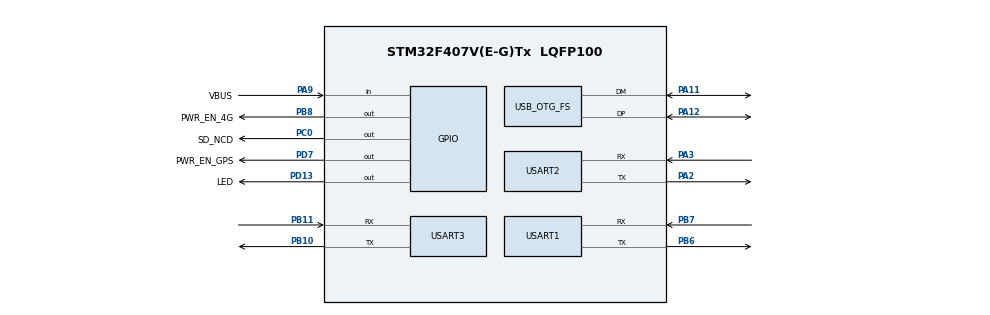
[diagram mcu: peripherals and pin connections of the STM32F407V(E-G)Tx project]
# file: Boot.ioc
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FATFS._FS_TINY=1
FATFS._MULTI_PARTITION=0
FATFS._USE_LABEL=1
Mcu.Family=STM32F4
Mcu.Name=STM32F407V(E-G)Tx
Mcu.Package=LQFP100
NVIC.OTG_FS_IRQn=true\:0\:0\:false\:false\:true\:false\:true
NVIC.PriorityGroup=NVIC_PRIORITYGROUP_4
NVIC.USART1_IRQn=true\:0\:0\:false\:false\:true\:true\:true
NVIC.USART2_IRQn=true\:0\:0\:false\:false\:true\:true\:true
NVIC.USART3_IRQn=true\:0\:0\:false\:false\:true\:true\:true
PA11.Mode=Device_Only
PA11.Signal=USB_OTG_FS_DM
PA12.Mode=Device_Only
PA12.Signal=USB_OTG_FS_DP
PA13.Mode=Serial_Wire
PA13.Signal=SYS_JTMS-SWDIO
PA14.Mode=Serial_Wire
PA14.Signal=SYS_JTCK-SWCLK
PA2.Mode=Asynchronous
PA2.Signal=USART2_TX
PA3.Mode=Asynchronous
PA3.Signal=USART2_RX
PA9.GPIO_Label=VBUS
PA9.GPIO_PuPd=GPIO_PULLDOWN
PA9.Signal=GPIO_Input
PB10.Mode=Asynchronous
PB10.Signal=USART3_TX
PB11.Mode=Asynchronous
PB11.Signal=USART3_RX
PB6.Mode=Asynchronous
PB6.Signal=USART1_TX
PB7.Mode=Asynchronous
PB7.Signal=USART1_RX
PB8.GPIO_Label=PWR_EN_4G
PB8.GPIO_PuPd=GPIO_PULLUP
PB8.GPIO_Speed=GPIO_SPEED_FREQ_HIGH
PB8.PinState=GPIO_PIN_SET
PB8.Signal=GPIO_Output
PC0.GPIO_Label=SD_NCD
PC0.GPIO_PuPd=GPIO_PULLUP
PC0.GPIO_Speed=GPIO_SPEED_FREQ_HIGH
PC0.PinState=GPIO_PIN_SET
PC0.Signal=GPIO_Output
PC10.Signal=SDIO_D2
PC11.Signal=SDIO_D3
PC12.Signal=SDIO_CK
PC8.Signal=SDIO_D0
PC9.Signal=SDIO_D1
PD13.GPIO_Label=LED
PD13.GPIO_ModeDefaultOutputPP=GPIO_MODE_OUTPUT_PP
PD13.GPIO_PuPd=GPIO_PULLUP
PD13.GPIO_Speed=GPIO_SPEED_FREQ_HIGH
PD13.PinState=GPIO_PIN_SET
PD13.Signal=GPIO_Output
PD2.Signal=SDIO_CMD
PD7.GPIO_Label=PWR_EN_GPS
PD7.GPIO_PuPd=GPIO_PULLUP
PD7.GPIO_Speed=GPIO_SPEED_FREQ_HIGH
PD7.PinState=GPIO_PIN_SET
PD7.Signal=GPIO_Output
PH0-OSC_IN.Mode=HSE-External-Oscillator
PH0-OSC_IN.Signal=RCC_OSC_IN
PH1-OSC_OUT.Mode=HSE-External-Oscillator
PH1-OSC_OUT.Signal=RCC_OSC_OUT
ProjectManager.HeapSize=0x2000
ProjectManager.StackSize=0x4000
ProjectManager.TargetToolchain=STM32CubeIDE
RCC.48MHZClocksFreq_Value=48000000
RCC.AHBCLKDivider=RCC_SYSCLK_DIV2
RCC.AHBFreq_Value=48000000
RCC.APB1CLKDivider=RCC_HCLK_DIV2
RCC.APB1Freq_Value=24000000
RCC.APB1TimFreq_Value=48000000
RCC.APB2CLKDivider=RCC_HCLK_DIV2
RCC.APB2Freq_Value=24000000
RCC.APB2TimFreq_Value=48000000
RCC.CortexFreq_Value=48000000
RCC.HCLKFreq_Value=48000000
RCC.HSE_VALUE=16000000
RCC.HSI_VALUE=16000000
RCC.LSE_VALUE=32768
RCC.SYSCLKFreq_VALUE=96000000
RCC.SYSCLKSource=RCC_SYSCLKSOURCE_PLLCLK
RCC.VCOOutputFreq_Value=192000000
USART1.VirtualMode=VM_ASYNC
USART2.VirtualMode=VM_ASYNC
USART3.VirtualMode=VM_ASYNC
USB_DEVICE.CLASS_NAME_FS=CDC
USB_DEVICE.VirtualMode-CDC_FS=Cdc
USB_DEVICE.VirtualModeFS=Cdc_FS
USB_OTG_FS.VirtualMode=Device_Only
VP_FATFS_VS_Generic.Mode=User_defined
VP_USB_DEVICE_VS_USB_DEVICE_CDC_FS.Mode=CDC_FS
board=custom

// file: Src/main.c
/* USER CODE BEGIN Header */
/**
  ******************************************************************************
  * @file           : main.c
  * @brief          : Main program body
  ******************************************************************************
  * @attention
  *
  * <h2><center>&copy; Copyright (c) 2020 STMicroelectronics.
  * All rights reserved.</center></h2>
  *
  * This software component is licensed by ST under Ultimate Liberty license
  * SLA0044, the "License"; You may not use this file except in compliance with
  * the License. You may obtain a copy of the License at:
  *                             www.st.com/SLA0044
  *
  ******************************************************************************
  */
/* USER CODE END Header */

#include "main.h"
#include "fatfs.h"
#include "usart.h"
#include "usb_device.h"
#include "gpio.h"

/* USER CODE BEGIN Includes */
//#include "usbd_cdc.h"
#include "fatfs.h"
#include "ff.h"
#include "sha1/sha1.h"
#include "Periphs/uart.h"
#include "Periphs/Flash.h"
#include "Periphs/crc.h"
#include "Periphs/ParamTable.h"
#include "version.h"
#include "GB/ZKHY/ZKHY_Dev_upload.h"
#include "core_cm4.h"
#include "Ini/Ini.h"
#include "Ini/Files.h"
#include "tea/tea.h"
#include "driver/ec20.h"

/* USER CODE END Includes */

void SystemClock_Config(void);
/* USER CODE BEGIN PFP */
extern USBD_StatusTypeDef USBD_DeInit(USBD_HandleTypeDef *pdev);
/* USER CODE END PFP */

/* USER CODE BEGIN 0 */
//static const char fw_name[] = "FW";
//static const char fw_key_name[] = "Name";
//static const char fw_key_total[] = "total";
//static const char fw_key_crc[] = "CRC";
//static const char fw_key_sha1[] = "SHA1";
//static const char fw_key_time[] = "Time";
extern uint8_t CDC_Transmit_FS(uint8_t* Buf, uint16_t Len);
//unsigned char cdc_rx_buffer[1024];
//int cdc_rx_flag = 0;
extern int rx_buf_get(void);
extern void fs_test(void);
extern void fs_test_sdio(void);

void bl_entry(void);

//uint8_t SD_GetCardInfo(HAL_SD_CardInfoTypeDef *cardinfo)
//{
//    uint8_t sta;
//    sta=HAL_SD_GetCardInfo(&hsd,cardinfo);
//    return sta;
//}

static uint8_t _ccm __attribute__ ((aligned (4))) bl_data[1024*4];
//extern void HAL_SD_MspDeInit(SD_HandleTypeDef* sdHandle);
extern void boot_app(void);

extern int check_bl(uint8_t _buf[], const uint16_t _bsize, int (*const read_func)(uint8_t buf[], const uint32_t _size));
extern void msc_upload(void);

// 对芯片签名, 签名长度 32B
extern uint8_t read_uid(uint8_t uid[]);
static uint8_t send_buf[256];
extern uint32_t sign_flag;
extern void first_sign_chip(void);

/* USER CODE END 0 */

int main(void)
{
  /* USER CODE BEGIN 1 */
	//static uint8_t send_buf[256];
    //int len=0;
    int bl_len;
	//uint32_t crc;
	uint32_t addr = (uint32_t)&first_sign_chip;
	addr = addr-(addr&0x03);  // 对齐
    //HAL_SD_CardInfoTypeDef cardinfo;
//    int ret = 0;
//    uint32_t data[3]={0x123456AB, 0x12CD4568, 0x1256EF34};
    //int ch=-1;
    led_tick = 0;
  /* USER CODE END 1 */

  /* MCU Configuration--------------------------------------------------------*/

  /* Reset of all peripherals, Initializes the Flash interface and the Systick. */
  HAL_Init();

  /* Configure the system clock */
  SystemClock_Config();

  /* USER CODE BEGIN SysInit */
  uartx_queue_init();
  // 芯片加密校验
#if 0 // 调试时关闭这部分功能
  if(0x00000000!=(*(const uint32_t*)addr)) first_sign_chip();
  verify_chip();
#endif
  /* USER CODE END SysInit */

  /* Initialize all configured peripherals */
  MX_GPIO_Init();
  //MX_USB_DEVICE_Init();
  //MX_SDIO_SD_Init();
  MX_USART1_UART_Init();
  MX_USART2_UART_Init();
  MX_USART3_UART_Init();
  MX_FATFS_Init();
  /* USER CODE BEGIN 2 */
  USART1_Init(115200);
  USART2_Init(115200);
  USART3_Init(115200);
  //MX_FATFS_Init();
  //SD_initialize(0);
  //fs_test();
  //fs_test_sdio();
  //MX_USB_DEVICE_Init();
  //SHA1(NULL, "Hello", 5); // -Os Optimize code, add code 4K
  LL_GPIO_ResetOutputPin(GPIOD, LED_Pin|PWR_EN_GPS_Pin);
  //fs_test(); // 格式化 Flash
  memset(send_buf, 0, sizeof(send_buf));
  // 利用 flash的写 0特点擦除原有数据
  //len = Flash_Write_Force(0x08000200, (uint32_t *)send_buf, 8);
  //app_debug("[%s--%d] len:%d \r\n", __func__, __LINE__, len);
  led_tick = HAL_GetTick() + 200;
  //HAL_Delay(200);  // delay, check VBUS
  //app_debug("[%s--%d] system start!\r\n", __func__, __LINE__);
  app_debug("[%s--%d] Ver[%d | 0x%08X]:%s\r\n", __func__, __LINE__, sizeof(Emb_Version), &Emb_Version, Emb_Version.version);
  // 检测是否需要升级
  for(bl_len=0; bl_len<100; bl_len++)
  {
	  HAL_Delay(10);
	  if((0==vbus_connect) && (vbus_high_count>100)) // usb connect
	  {
		  bl_len=0;
		  break;
	  }
#if 0 // 暂时不支持
	  if(0==check_bl(send_buf, sizeof(send_buf), uart1_read))
	  {
		  bl_len=0;
		  break;
	  }
	  if(0==check_bl(send_buf, sizeof(send_buf), uart2_read))
	  {
		  bl_len=0;
		  break;
	  }
	  if(0==check_bl(send_buf, sizeof(send_buf), uart3_read))
	  {
		  bl_len=0;
		  break;
	  }
#endif
  }
  EC20_Test();
  //app_debug("[%s--%d] bl_len:%d \r\n", __func__, __LINE__, bl_len);
  if(0!=bl_len)
  {
	  app_debug("[%s--%d] boot_app!\r\n", __func__, __LINE__);
	  //boot_app();
  }
  fs_test(); // 格式化 Flash
//  ret = FLASH_Erase(0x08020000, 0x08030000);
//  app_debug("[%s--%d] FLASH_Erase[%d]\r\n", __func__, __LINE__, ret);
//  ret = Flash_Write(0x08010000, data, 3);
//  app_debug("[%s--%d] FLASH_write<%d>[%08X %08X %08X]\r\n", __func__, __LINE__, ret, data[0], data[1], data[2]);
//  memset(data, 0, sizeof(data));
//  ret = Flash_Read(0x08010000, data, 3);
//  app_debug("[%s--%d] FLASH_read<%d>[%08X %08X %08X]\r\n", __func__, __LINE__, ret, data[0], data[1], data[2]);
  //Flash_Test(0x08010000, 0x08020000);
  //flash_disk_init();
  //sram_disk_init();
  //msc_upload();
  ZKHY_Slave_upload_init(NULL);
#if 0
  //SD_GetCardInfo(&cardinfo);
  BSP_SD_GetCardInfo(&cardinfo);
  app_debug("[%s--%d] Specifies the card Type :%d \r\n", __func__, __LINE__, cardinfo.CardType);
  app_debug("[%s--%d] Specifies the card version :%d \r\n", __func__, __LINE__, cardinfo.CardVersion);
  app_debug("[%s--%d] Specifies the class of the card class :%d \r\n", __func__, __LINE__, cardinfo.Class);
  app_debug("[%s--%d] Specifies the Relative Card Address :%d \r\n", __func__, __LINE__, cardinfo.RelCardAdd);
  app_debug("[%s--%d] Specifies the Card Capacity in blocks :%d | %d | %d \r\n", __func__, __LINE__, cardinfo.BlockNbr, cardinfo.BlockNbr*cardinfo.BlockSize, cardinfo.BlockNbr*cardinfo.BlockSize/1024/1024);
  app_debug("[%s--%d] Specifies one block size in bytes :%d \r\n", __func__, __LINE__, cardinfo.BlockSize);
  app_debug("[%s--%d] Specifies the Card logical Capacity in blocks :%d \r\n", __func__, __LINE__, cardinfo.LogBlockNbr);
  app_debug("[%s--%d] Specifies logical block size in bytes  :%d \r\n", __func__, __LINE__, cardinfo.LogBlockSize);
#endif
  /* USER CODE END 2 */

  /* Infinite loop */
  /* USER CODE BEGIN WHILE */
  while (1)
  {
//	  if((0==vbus_connect) && (vbus_high_count>100)) // usb connect
//	  {
//		  vbus_connect = 1;
//		  MX_USB_DEVICE_Init();
//	  }
//	  if((1==vbus_connect) && (vbus_low_count>100)) // usb disconnect
//	  {
//		  vbus_connect = 0;
//		  USBD_DeInit(&hUsbDeviceFS);
//		  // 检测升级
//		  msc_upload();
//		  //boot_app();
//	  }
#if 0
	  memset(send_buf, 0, sizeof(send_buf));
      for(len=0; len<60; len++)
      {
          ch = rx_buf_get();
          if(ch<0) break;
          send_buf[len] = ch;
      }
      if(len>0)
      {
          CDC_Transmit_FS(send_buf, len);
      }
//#else
      bl_len = uart1_read(send_buf, sizeof(send_buf));
      if(bl_len>0)
      {
    	  uart3_send(send_buf, bl_len);
    	  EC20_Test();
    	  app_debug("[%s--%d] EC20 Test End!\r\n", __func__, __LINE__);
      }
#endif
      /*memset(send_buf, 0, sizeof(send_buf));
      len = uart3_read(send_buf, sizeof(send_buf));
      if(len>0)
      {
    	  uart3_send(send_buf, len);
      }*/
    /* USER CODE END WHILE */

  }
}

void SystemClock_Config(void)
{
  LL_FLASH_SetLatency(LL_FLASH_LATENCY_1);

  if(LL_FLASH_GetLatency() != LL_FLASH_LATENCY_1)
  {
  Error_Handler();
  }
  LL_PWR_SetRegulVoltageScaling(LL_PWR_REGU_VOLTAGE_SCALE1);
  LL_RCC_HSE_Enable();

   /* Wait till HSE is ready */
  while(LL_RCC_HSE_IsReady() != 1)
  {

  }
  LL_RCC_PLL_ConfigDomain_SYS(LL_RCC_PLLSOURCE_HSE, LL_RCC_PLLM_DIV_16, 192, LL_RCC_PLLP_DIV_2);
  LL_RCC_PLL_ConfigDomain_48M(LL_RCC_PLLSOURCE_HSE, LL_RCC_PLLM_DIV_16, 192, LL_RCC_PLLQ_DIV_4);
  LL_RCC_PLL_Enable();

   /* Wait till PLL is ready */
  while(LL_RCC_PLL_IsReady() != 1)
  {

  }
  LL_RCC_SetAHBPrescaler(LL_RCC_SYSCLK_DIV_2);
  LL_RCC_SetAPB1Prescaler(LL_RCC_APB1_DIV_2);
  LL_RCC_SetAPB2Prescaler(LL_RCC_APB2_DIV_2);
  LL_RCC_SetSysClkSource(LL_RCC_SYS_CLKSOURCE_PLL);

   /* Wait till System clock is ready */
  while(LL_RCC_GetSysClkSource() != LL_RCC_SYS_CLKSOURCE_STATUS_PLL)
  {

  }
  LL_SetSystemCoreClock(48000000);

   /* Update the time base */
  if (HAL_InitTick (TICK_INT_PRIORITY) != HAL_OK)
  {
    Error_Handler();
  };
}

void Error_Handler(void)
{
}

/************************ (C) COPYRIGHT STMicroelectronics *****END OF FILE****/
